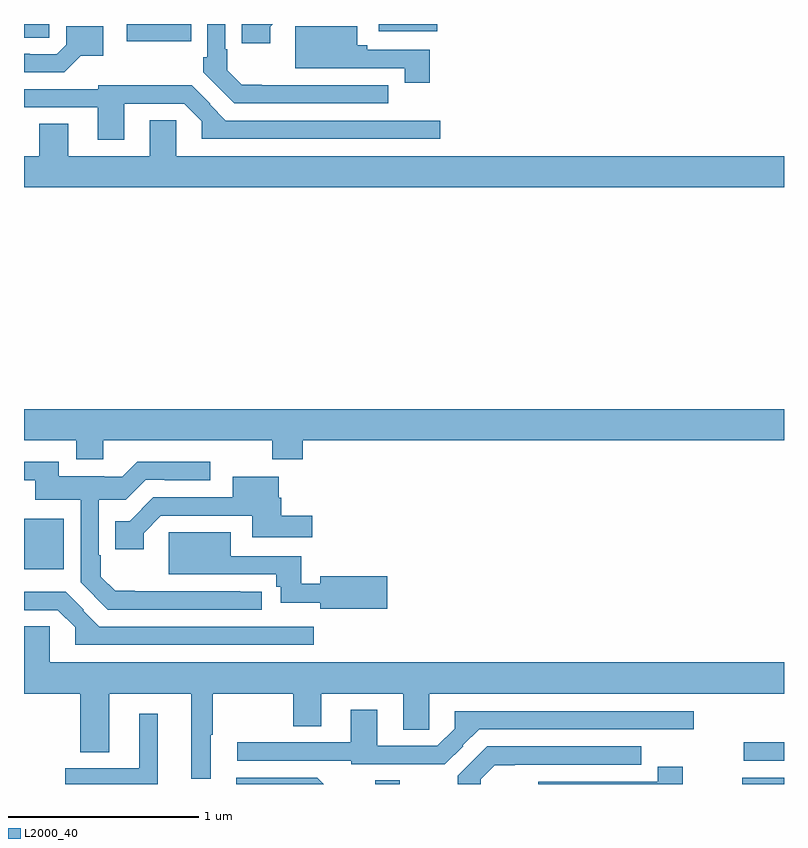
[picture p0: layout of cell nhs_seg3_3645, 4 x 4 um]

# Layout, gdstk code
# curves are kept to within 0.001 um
import gdstk
lib = gdstk.Library(unit=1e-6, precision=1e-09)
def R(c, l, rs):  # rectangles x0, y0, x1, y1
    for r in rs: c.add(gdstk.rectangle(r[:2], r[2:], *l))
def P(c, l, *ps):  # polygons
    for p in ps: c.add(gdstk.Polygon(p, *l))
L2000_40 = (2000, 40)

nhs_seg3_3645 = lib.new_cell('nhs_seg3_3645')
R(nhs_seg3_3645, L2000_40, [(300.848,740.4,300.978,740.42), (302.78,740.4,303,740.433), (302.787,740.523,303,740.619), (299,741.53,299.209,741.796), (299.541,744.308,299.879,744.4), (299,744.328,299.133,744.4), (300.866,744.362,301.174,744.4)])
P(nhs_seg3_3645, L2000_40, [(300.295,744.385),(300.31,744.4),(300.145,744.4),(300.145,744.3),(300.295,744.3)],
  [(300.916,744.078),(300.25,744.078),(300.25,744.081),(300.146,744.081),(300.07,744.156),(300.07,744.268),(300.06,744.268),(300.06,744.4),(299.964,744.4),(299.964,744.226),(299.944,744.226),(299.944,744.145),(300.107,743.982),(300.916,743.982)],
  [(299.298,744.233),(299.416,744.233),(299.416,744.388),(299.223,744.388),(299.223,744.291),(299.172,744.24),(299.03,744.24),(299.03,744.243),(299,744.243),(299,744.147),(299.212,744.147)],
  [(301.135,744.264),(300.807,744.264),(300.807,744.289),(300.754,744.289),(300.754,744.388),(300.428,744.388),(300.428,744.167),(300.707,744.167),(300.707,744.168),(301.004,744.168),(301.004,744.09),(301.135,744.09)],
  [(299.527,743.979),(299.844,743.979),(299.935,743.889),(299.935,743.796),(301.192,743.796),(301.192,743.892),(300.063,743.892),(299.978,743.977),(299.981,743.98),(299.883,744.078),(299.391,744.078),(299.391,744.057),(299,744.057),(299,743.961),(299.387,743.961),(299.387,743.79),(299.527,743.79)],
  [(303,743.704),(299.802,743.704),(299.802,743.894),(299.663,743.894),(299.663,743.704),(299.233,743.704),(299.233,743.876),(299.081,743.876),(299.081,743.704),(299,743.704),(299,743.54),(303,743.54)],
  [(299.416,742.208),(300.307,742.208),(300.307,742.109),(300.467,742.109),(300.467,742.208),(303,742.208),(303,742.372),(299,742.372),(299,742.208),(299.276,742.208),(299.276,742.109),(299.416,742.109)],
  [(300.25,741.413),(299.584,741.414),(299.584,741.417),(299.48,741.417),(299.404,741.492),(299.404,741.604),(299.394,741.604),(299.394,741.897),(299.535,741.897),(299.64,742.002),(299.74,742.002),(299.74,741.999),(299.98,741.999),(299.98,742.096),(299.596,742.096),(299.517,742.017),(299.423,742.017),(299.423,742.021),(299.182,742.021),(299.182,742.095),(299,742.095),(299,741.999),(299.06,741.999),(299.06,741.896),(299.298,741.896),(299.298,741.461),(299.441,741.318),(300.25,741.318)],
  [(299.629,741.721),(299.721,741.813),(300.2,741.813),(300.2,741.698),(300.517,741.698),(300.517,741.812),(300.353,741.812),(300.353,741.906),(300.34,741.906),(300.34,742.018),(300.098,742.018),(300.098,741.909),(299.681,741.909),(299.556,741.784),(299.479,741.784),(299.479,741.636),(299.629,741.636)],
  [(300.913,741.494),(300.56,741.494),(300.56,741.453),(300.46,741.453),(300.46,741.6),(300.088,741.6),(300.088,741.724),(299.762,741.724),(299.762,741.503),(299.984,741.503),(299.984,741.504),(300.327,741.504),(300.327,741.438),(300.35,741.438),(300.35,741.354),(300.56,741.354),(300.56,741.323),(300.913,741.323)],
  [(300.526,741.228),(299.397,741.228),(299.312,741.313),(299.315,741.316),(299.22,741.411),(299,741.411),(299,741.315),(299.178,741.315),(299.269,741.225),(299.269,741.132),(300.526,741.132)],
  [(299.983,740.66),(299.993,740.66),(299.993,740.876),(300.418,740.876),(300.418,740.704),(300.565,740.704),(300.565,740.876),(300.995,740.876),(300.995,740.686),(301.134,740.686),(301.134,740.876),(303,740.876),(303,741.04),(299.136,741.04),(299.136,741.23),(299,741.23),(299,740.876),(299.297,740.876),(299.297,740.567),(299.449,740.567),(299.449,740.876),(299.879,740.876),(299.879,740.427),(299.983,740.427)],
  [(301.313,740.6),(301.31,740.603),(301.395,740.688),(302.524,740.688),(302.524,740.784),(301.267,740.784),(301.267,740.692),(301.176,740.601),(300.859,740.601),(300.859,740.791),(300.719,740.791),(300.719,740.619),(300.123,740.619),(300.123,740.523),(300.723,740.523),(300.723,740.505),(301.115,740.505),(301.115,740.503),(301.215,740.503)],
  [(299.704,740.77),(299.606,740.77),(299.606,740.482),(299.216,740.482),(299.216,740.4),(299.704,740.4)],
  [(301.403,740.424),(301.478,740.5),(301.582,740.5),(301.582,740.502),(302.248,740.502),(302.248,740.598),(301.439,740.598),(301.284,740.443),(301.284,740.4),(301.403,740.4)],
  [(302.467,740.491),(302.336,740.491),(302.336,740.412),(301.991,740.412),(301.991,740.413),(301.707,740.413),(301.707,740.4),(302.467,740.4)],
  [(300.544,740.433),(300.116,740.433),(300.116,740.4),(300.577,740.4)])

lib.write_gds('nhs_seg3_3645.gds')
